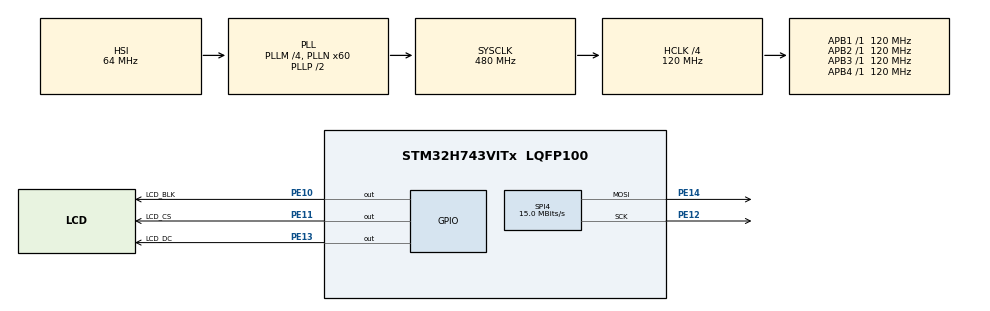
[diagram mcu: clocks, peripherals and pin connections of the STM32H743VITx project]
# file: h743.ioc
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CORTEX_M7.default_mode_Activation=1
FREERTOS.Tasks01=defaultTask,24,128,StartDefaultTask,Default,NULL,Dynamic,NULL,NULL;displayTask,8,1024,StartDisplayTask,Default,NULL,Dynamic,NULL,NULL
Mcu.Family=STM32H7
Mcu.Name=STM32H743VITx
Mcu.Package=LQFP100
NVIC.PriorityGroup=NVIC_PRIORITYGROUP_4
NVIC.TIM6_DAC_IRQn=true\:15\:0\:false\:false\:true\:false\:false\:true\:true
NVIC.TimeBase=TIM6_DAC_IRQn
NVIC.TimeBaseIP=TIM6
PE10.GPIO_Label=LCD_BLK
PE10.Signal=GPIO_Output
PE11.GPIO_Label=LCD_CS
PE11.Signal=GPIO_Output
PE12.Mode=TX_Only_Simplex_Unidirect_Master
PE12.Signal=SPI4_SCK
PE13.GPIO_Label=LCD_DC
PE13.Signal=GPIO_Output
PE14.Mode=TX_Only_Simplex_Unidirect_Master
PE14.Signal=SPI4_MOSI
ProjectManager.HeapSize=0x200
ProjectManager.StackSize=0x400
ProjectManager.TargetToolchain=CMake
RCC.ADCFreq_Value=129000000
RCC.APB1Freq_Value=120000000
RCC.APB2Freq_Value=120000000
RCC.APB3Freq_Value=120000000
RCC.APB4Freq_Value=120000000
RCC.CortexFreq_Value=480000000
RCC.DIVM1=4
RCC.DIVN1=60
RCC.HCLKFreq_Value=120000000
RCC.HPRE=RCC_HCLK_DIV4
RCC.PLL2FRACN=0
RCC.PLL3FRACN=0
RCC.PLLFRACN=0
RCC.SYSCLKFreq_VALUE=480000000
RCC.SYSCLKSource=RCC_SYSCLKSOURCE_PLLCLK
RCC.USBFreq_Value=480000000
SPI4.BaudRatePrescaler=SPI_BAUDRATEPRESCALER_8
SPI4.CalculateBaudRate=15.0 MBits/s
SPI4.DataSize=SPI_DATASIZE_8BIT
SPI4.Direction=SPI_DIRECTION_2LINES_TXONLY
SPI4.Mode=SPI_MODE_MASTER
SPI4.NSSPMode=SPI_NSS_PULSE_DISABLE
SPI4.VirtualType=VM_MASTER
VP_FREERTOS_VS_CMSIS_V2.Mode=CMSIS_V2
VP_MEMORYMAP_VS_MEMORYMAP.Mode=CurAppReg
VP_SYS_VS_tim6.Mode=TIM6
board=custom

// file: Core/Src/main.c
/* USER CODE BEGIN Header */
/**
  ******************************************************************************
  * @file           : main.c
  * @brief          : Main program body
  ******************************************************************************
  * @attention
  *
  * Copyright (c) 2026 STMicroelectronics.
  * All rights reserved.
  *
  * This software is licensed under terms that can be found in the LICENSE file
  * in the root directory of this software component.
  * If no LICENSE file comes with this software, it is provided AS-IS.
  *
  ******************************************************************************
  */
/* USER CODE END Header */
#include "main.h"
#include "FreeRTOS.h"
#include "cmsis_os2.h"
#include "spi.h"
#include "gpio.h"

/* USER CODE BEGIN Includes */
#include "st7735.h"
/* USER CODE END Includes */

void SystemClock_Config(void);
static void MPU_Config(void);
void MX_FREERTOS_Init(void);

int main(void)
{

  /* MPU Configuration--------------------------------------------------------*/
  MPU_Config();

  /* MCU Configuration--------------------------------------------------------*/

  /* Reset of all peripherals, Initializes the Flash interface and the Systick. */
  HAL_Init();

  /* Configure the system clock */
  SystemClock_Config();

  /* Initialize all configured peripherals */
  MX_GPIO_Init();
  MX_SPI4_Init();

  /* Init scheduler */
  osKernelInitialize();  /* Call init function for freertos objects (in cmsis_os2.c) */
  MX_FREERTOS_Init();

  /* Start scheduler */
  osKernelStart();

  /* We should never get here as control is now taken by the scheduler */

  /* Infinite loop */
  while (1)
  {

  }
}

void SystemClock_Config(void)
{
  RCC_OscInitTypeDef RCC_OscInitStruct = {0};
  RCC_ClkInitTypeDef RCC_ClkInitStruct = {0};

  /** Supply configuration update enable
  */
  HAL_PWREx_ConfigSupply(PWR_LDO_SUPPLY);

  /** Configure the main internal regulator output voltage
  */
  __HAL_PWR_VOLTAGESCALING_CONFIG(PWR_REGULATOR_VOLTAGE_SCALE0);

  while(!__HAL_PWR_GET_FLAG(PWR_FLAG_VOSRDY)) {}

  /** Initializes the RCC Oscillators according to the specified parameters
  * in the RCC_OscInitTypeDef structure.
  */
  RCC_OscInitStruct.OscillatorType = RCC_OSCILLATORTYPE_HSI;
  RCC_OscInitStruct.HSIState = RCC_HSI_DIV1;
  RCC_OscInitStruct.HSICalibrationValue = RCC_HSICALIBRATION_DEFAULT;
  RCC_OscInitStruct.PLL.PLLState = RCC_PLL_ON;
  RCC_OscInitStruct.PLL.PLLSource = RCC_PLLSOURCE_HSI;
  RCC_OscInitStruct.PLL.PLLM = 4;
  RCC_OscInitStruct.PLL.PLLN = 60;
  RCC_OscInitStruct.PLL.PLLP = 2;
  RCC_OscInitStruct.PLL.PLLQ = 2;
  RCC_OscInitStruct.PLL.PLLR = 2;
  RCC_OscInitStruct.PLL.PLLRGE = RCC_PLL1VCIRANGE_3;
  RCC_OscInitStruct.PLL.PLLVCOSEL = RCC_PLL1VCOWIDE;
  RCC_OscInitStruct.PLL.PLLFRACN = 0;
  if (HAL_RCC_OscConfig(&RCC_OscInitStruct) != HAL_OK)
  {
    Error_Handler();
  }

  /** Initializes the CPU, AHB and APB buses clocks
  */
  RCC_ClkInitStruct.ClockType = RCC_CLOCKTYPE_HCLK|RCC_CLOCKTYPE_SYSCLK
                              |RCC_CLOCKTYPE_PCLK1|RCC_CLOCKTYPE_PCLK2
                              |RCC_CLOCKTYPE_D3PCLK1|RCC_CLOCKTYPE_D1PCLK1;
  RCC_ClkInitStruct.SYSCLKSource = RCC_SYSCLKSOURCE_PLLCLK;
  RCC_ClkInitStruct.SYSCLKDivider = RCC_SYSCLK_DIV1;
  RCC_ClkInitStruct.AHBCLKDivider = RCC_HCLK_DIV4;
  RCC_ClkInitStruct.APB3CLKDivider = RCC_APB3_DIV1;
  RCC_ClkInitStruct.APB1CLKDivider = RCC_APB1_DIV1;
  RCC_ClkInitStruct.APB2CLKDivider = RCC_APB2_DIV1;
  RCC_ClkInitStruct.APB4CLKDivider = RCC_APB4_DIV1;

  if (HAL_RCC_ClockConfig(&RCC_ClkInitStruct, FLASH_LATENCY_1) != HAL_OK)
  {
    Error_Handler();
  }
}

 /* MPU Configuration */

void MPU_Config(void)
{
  MPU_Region_InitTypeDef MPU_InitStruct = {0};

  /* Disables the MPU */
  HAL_MPU_Disable();

  /** Initializes and configures the Region and the memory to be protected
  */
  MPU_InitStruct.Enable = MPU_REGION_ENABLE;
  MPU_InitStruct.Number = MPU_REGION_NUMBER0;
  MPU_InitStruct.BaseAddress = 0x0;
  MPU_InitStruct.Size = MPU_REGION_SIZE_4GB;
  MPU_InitStruct.SubRegionDisable = 0x87;
  MPU_InitStruct.TypeExtField = MPU_TEX_LEVEL0;
  MPU_InitStruct.AccessPermission = MPU_REGION_NO_ACCESS;
  MPU_InitStruct.DisableExec = MPU_INSTRUCTION_ACCESS_DISABLE;
  MPU_InitStruct.IsShareable = MPU_ACCESS_SHAREABLE;
  MPU_InitStruct.IsCacheable = MPU_ACCESS_NOT_CACHEABLE;
  MPU_InitStruct.IsBufferable = MPU_ACCESS_NOT_BUFFERABLE;

  HAL_MPU_ConfigRegion(&MPU_InitStruct);
  /* Enables the MPU */
  HAL_MPU_Enable(MPU_PRIVILEGED_DEFAULT);

}

void HAL_TIM_PeriodElapsedCallback(TIM_HandleTypeDef *htim)
{
  if (htim->Instance == TIM6)
  {
    HAL_IncTick();
  }
}

void Error_Handler(void)
{
  __disable_irq();
  while (1)
  {
  }
}

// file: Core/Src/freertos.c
/* USER CODE BEGIN Header */
/**
  ******************************************************************************
  * File Name          : freertos.c
  * Description        : Code for freertos applications
  ******************************************************************************
  * @attention
  *
  * Copyright (c) 2026 STMicroelectronics.
  * All rights reserved.
  *
  * This software is licensed under terms that can be found in the LICENSE file
  * in the root directory of this software component.
  * If no LICENSE file comes with this software, it is provided AS-IS.
  *
  ******************************************************************************
  */
/* USER CODE END Header */

#include "FreeRTOS.h"
#include "task.h"
#include "main.h"
#include "FreeRTOS.h"
#include "cmsis_os2.h"

/* USER CODE BEGIN Includes */
#include <stdio.h>

#include "st7735.h"
/* USER CODE END Includes */

/* Definitions for defaultTask */
osThreadId_t defaultTaskHandle;
const osThreadAttr_t defaultTask_attributes = {
  .name = "defaultTask",
  .stack_size = 128 * 4,
  .priority = (osPriority_t) osPriorityNormal,
};
/* Definitions for displayTask */
osThreadId_t displayTaskHandle;
const osThreadAttr_t displayTask_attributes = {
  .name = "displayTask",
  .stack_size = 1024 * 4,
  .priority = (osPriority_t) osPriorityLow,
};

void StartDefaultTask(void *argument);
void StartDisplayTask(void *argument);

void MX_FREERTOS_Init(void); /* (MISRA C 2004 rule 8.1) */

void MX_FREERTOS_Init(void) {
  /* USER CODE BEGIN Init */

  // Init Display
  HAL_GPIO_WritePin(LCD_BLK_GPIO_Port, LCD_BLK_Pin, GPIO_PIN_RESET);
  ST7735_Init();
  ST7735_FillScreen(ST7735_BLACK);

  /* USER CODE END Init */

  /* Create the thread(s) */
  /* creation of defaultTask */
  defaultTaskHandle = osThreadNew(StartDefaultTask, NULL, &defaultTask_attributes);

  /* creation of displayTask */
  displayTaskHandle = osThreadNew(StartDisplayTask, NULL, &displayTask_attributes);

}

void StartDefaultTask(void *argument)
{
  /* USER CODE BEGIN StartDefaultTask */

  ST7735_WriteString(5, 5, "Jordi is mad", Font_7x10, ST7735_WHITE, ST7735_BLACK);

  /* Infinite loop */
  for(;;)
  {
    osDelay(1);
  }
  /* USER CODE END StartDefaultTask */
}

void StartDisplayTask(void *argument)
{
  /* USER CODE BEGIN StartDisplayTask */

  char buf[16];
  uint32_t counter = 0;

  ST7735_FillScreen(ST7735_BLACK);

  /* Infinite loop */
  for(;;)
  {
    // Draw UI elements
    snprintf(buf, sizeof(buf), "Count: %lu", counter++);
    ST7735_WriteString(10, 15, buf, Font_11x18, ST7735_WHITE, ST7735_BLACK);

    // Draw an animated progress bar
    uint16_t bar_width = (counter * 4) % (ST7735_WIDTH - 20);
    ST7735_FillRectangle(10, 50, bar_width, 10, ST7735_WHITE);
    ST7735_FillRectangle(10 + bar_width, 50, (ST7735_WIDTH - 20) - bar_width, 10, ST7735_BLACK);

    // Sleep to yield CPU
    osDelay(20);
  }
  /* USER CODE END StartDisplayTask */
}
